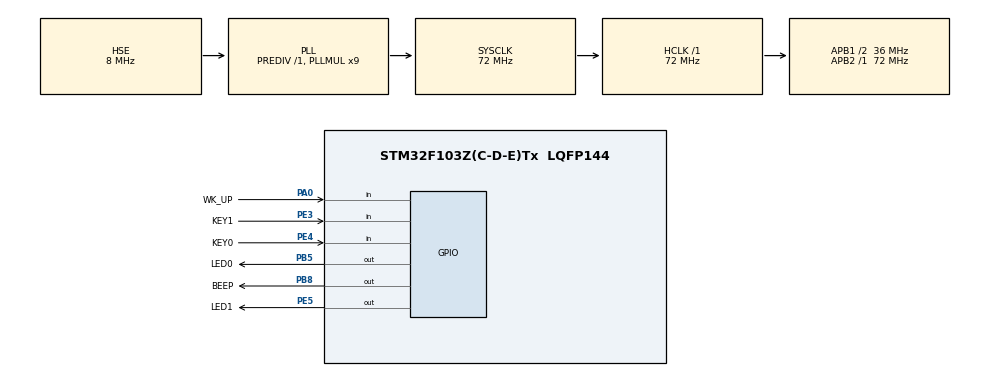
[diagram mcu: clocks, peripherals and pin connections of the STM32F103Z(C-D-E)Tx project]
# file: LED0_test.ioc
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Mcu.Family=STM32F1
Mcu.Name=STM32F103Z(C-D-E)Tx
Mcu.Package=LQFP144
NVIC.PriorityGroup=NVIC_PRIORITYGROUP_4
OSC_IN.Mode=HSE-External-Oscillator
OSC_IN.Signal=RCC_OSC_IN
OSC_OUT.Mode=HSE-External-Oscillator
OSC_OUT.Signal=RCC_OSC_OUT
PA0-WKUP.GPIO_Label=WK_UP
PA0-WKUP.GPIO_PuPd=GPIO_PULLDOWN
PA0-WKUP.Signal=GPIO_Input
PA13.Mode=Serial_Wire
PA13.Signal=SYS_JTMS-SWDIO
PA14.Mode=Serial_Wire
PA14.Signal=SYS_JTCK-SWCLK
PB5.GPIO_Label=LED0
PB5.GPIO_ModeDefaultOutputPP=GPIO_MODE_OUTPUT_PP
PB5.Signal=GPIO_Output
PB8.GPIO_Label=BEEP
PB8.Signal=GPIO_Output
PE3.GPIO_Label=KEY1
PE3.GPIO_PuPd=GPIO_PULLUP
PE3.Signal=GPIO_Input
PE4.GPIO_Label=KEY0
PE4.GPIO_PuPd=GPIO_PULLUP
PE4.Signal=GPIO_Input
PE5.GPIO_Label=LED1
PE5.Signal=GPIO_Output
ProjectManager.HeapSize=0x200
ProjectManager.StackSize=0x400
ProjectManager.TargetToolchain=TrueSTUDIO
RCC.AHBFreq_Value=72000000
RCC.APB1CLKDivider=RCC_HCLK_DIV2
RCC.APB1Freq_Value=36000000
RCC.APB1TimFreq_Value=72000000
RCC.APB2Freq_Value=72000000
RCC.APB2TimFreq_Value=72000000
RCC.HCLKFreq_Value=72000000
RCC.PLLMUL=RCC_PLL_MUL9
RCC.PLLSourceVirtual=RCC_PLLSOURCE_HSE
RCC.SYSCLKFreq_VALUE=72000000
RCC.SYSCLKSource=RCC_SYSCLKSOURCE_PLLCLK
RCC.USBFreq_Value=72000000
board=custom

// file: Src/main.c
/* USER CODE BEGIN Header */
/**
  ******************************************************************************
  * @file           : main.c
  * @brief          : Main program body
  ******************************************************************************
  * @attention
  *
  * <h2><center>&copy; Copyright (c) 2020 STMicroelectronics.
  * All rights reserved.</center></h2>
  *
  * This software component is licensed by ST under BSD 3-Clause license,
  * the "License"; You may not use this file except in compliance with the
  * License. You may obtain a copy of the License at:
  *                        opensource.org/licenses/BSD-3-Clause
  *
  ******************************************************************************
  */
/* USER CODE END Header */

#include "main.h"
#include "gpio.h"
#include "key.h"

void SystemClock_Config(void);

int main(void)
{
  /* USER CODE BEGIN 1 */
	uint8_t key;
  /* USER CODE END 1 */

  /* MCU Configuration--------------------------------------------------------*/

  /* Reset of all peripherals, Initializes the Flash interface and the Systick. */
  HAL_Init();

  /* Configure the system clock */
  SystemClock_Config();

  /* Initialize all configured peripherals */
  MX_GPIO_Init();

  /* Infinite loop */
  while (1)
  {

    /* USER CODE BEGIN 3 */
	  key = KEY_Scan(0);
	  if (key)
	  {
		  switch (key)
		  {
			case WK_UP_PRES :
				HAL_GPIO_TogglePin(BEEP_GPIO_Port,BEEP_Pin);
				break;
			case KEY1_PRES :
				HAL_GPIO_TogglePin(LED1_GPIO_Port,LED1_Pin);
				HAL_GPIO_TogglePin(BEEP_GPIO_Port,BEEP_Pin);
				break;
			case KEY0_PRES :
				HAL_GPIO_TogglePin(LED0_GPIO_Port,LED0_Pin);
				HAL_GPIO_TogglePin(LED1_GPIO_Port,LED1_Pin);
				break;
		  }
	  }
	  else HAL_Delay(10);
  }
  /* USER CODE END 3 */
}

void SystemClock_Config(void)
{
  RCC_OscInitTypeDef RCC_OscInitStruct = {0};
  RCC_ClkInitTypeDef RCC_ClkInitStruct = {0};

  /** Initializes the CPU, AHB and APB busses clocks
  */
  RCC_OscInitStruct.OscillatorType = RCC_OSCILLATORTYPE_HSE;
  RCC_OscInitStruct.HSEState = RCC_HSE_ON;
  RCC_OscInitStruct.HSEPredivValue = RCC_HSE_PREDIV_DIV1;
  RCC_OscInitStruct.HSIState = RCC_HSI_ON;
  RCC_OscInitStruct.PLL.PLLState = RCC_PLL_ON;
  RCC_OscInitStruct.PLL.PLLSource = RCC_PLLSOURCE_HSE;
  RCC_OscInitStruct.PLL.PLLMUL = RCC_PLL_MUL9;
  if (HAL_RCC_OscConfig(&RCC_OscInitStruct) != HAL_OK)
  {
    Error_Handler();
  }
  /** Initializes the CPU, AHB and APB busses clocks
  */
  RCC_ClkInitStruct.ClockType = RCC_CLOCKTYPE_HCLK|RCC_CLOCKTYPE_SYSCLK
                              |RCC_CLOCKTYPE_PCLK1|RCC_CLOCKTYPE_PCLK2;
  RCC_ClkInitStruct.SYSCLKSource = RCC_SYSCLKSOURCE_PLLCLK;
  RCC_ClkInitStruct.AHBCLKDivider = RCC_SYSCLK_DIV1;
  RCC_ClkInitStruct.APB1CLKDivider = RCC_HCLK_DIV2;
  RCC_ClkInitStruct.APB2CLKDivider = RCC_HCLK_DIV1;

  if (HAL_RCC_ClockConfig(&RCC_ClkInitStruct, FLASH_LATENCY_2) != HAL_OK)
  {
    Error_Handler();
  }
}

void Error_Handler(void)
{
}

/************************ (C) COPYRIGHT STMicroelectronics *****END OF FILE****/
